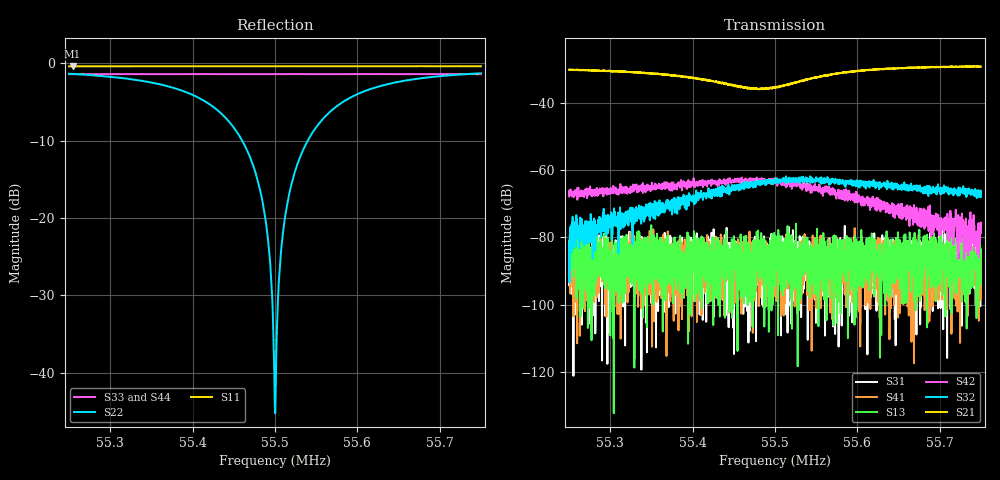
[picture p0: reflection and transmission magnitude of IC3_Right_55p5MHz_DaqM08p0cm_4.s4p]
#  HZ  S  DB  R  50.00
! Rohde & Schwarz Vector Network Analyzer
! Rohde-Schwarz,ZNB8-4Port,1311601044102961,2.82
! Created: UTC 2/13/2019, 2:09:33 PM
! freq[Hz]  db:S11  ang:S11  db:S12  ang:S12  db:S13  ang:S13  db:S14  ang:S14
!  db:S21  ang:S21  db:S22  ang:S22  db:S23  ang:S23  db:S24  ang:S24
!  db:S31  ang:S31  db:S32  ang:S32  db:S33  ang:S33  db:S34  ang:S34
!  db:S41  ang:S41  db:S42  ang:S42  db:S43  ang:S43  db:S44  ang:S44
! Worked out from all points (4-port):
!   2001 points, 55.25 MHz to 55.75 MHz, reference 50 ohm
!   strongest paths, dB at 55.25 MHz, 55.375 MHz, 55.5 MHz, 55.625 MHz, 55.75 MHz:
!     S21: -30.1, -31.8, -35.6, -30.1, -29.3
!     S32: -81.5, -73.2, -63.6, -64.2, -67.7
!     S42: -67.8, -64.7, -63.1, -70.0, -78.7
!     S13: -83.9, -82.0, -94.4, -85.4, -94.0
!     S41: -92.6, -88.0, -85.5, -80.1, -86.2
!     S31: -87.1, -83.9, -85.5, -82.6, -91.5
!   lowest |S11| = -0.4 dB at 55.2542 MHz (marker M1), VSWR 42.10, Z = 2.1 + j43.9 ohm
!   |S11| at or under -10 dB: nowhere
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5.525e7  -0.41 97.5  -30.19 72.5  -83.92 92.7  -79.30 83.0
         -30.15 73.9  -1.36 -131.9  -76.26 -6.2  -66.23 -149.5
         -87.12 8.0  -81.54 -11.2  -1.42 24.7  -88.27 -91.8
         -92.64 -45.4  -67.80 -150.5  -95.89 96.5  -1.43 31.2
5.525425e7  -0.41 97.4  -30.15 72.4  -84.85 -170.6  -87.18 0.7
            -30.28 72.6  -1.38 -132.5  -80.39 4.9  -66.92 -152.0
            -85.37 -47.9  -73.87 4.9  -1.41 24.7  -85.82 -116.7
            -87.93 -11.5  -67.64 -149.8  -93.27 -35.4  -1.43 31.2
5.545225e7  -0.39 93.8  -34.93 68.2  -87.57 70.1  -88.49 172.7
            -34.83 68.1  -8.65 173.6  -65.36 -32.3  -63.33 163.0
            -86.48 -47.8  -65.14 -32.8  -1.41 22.1  -86.67 30.1
            -87.65 -56.9  -63.17 168.1  -89.60 -57.2  -1.43 28.7
5.54865e7  -0.39 93.1  -35.82 83.7  -86.98 151.9  -87.90 75.9
           -35.80 84.6  -18.85 153.9  -63.68 -53.8  -63.56 144.4
           -87.09 -27.5  -63.18 -54.0  -1.41 21.7  -96.41 27.7
           -85.06 66.0  -63.31 151.0  -89.93 -116.7  -1.42 28.3
5.55e7  -0.39 92.8  -35.58 91.8  -94.42 -10.1  -80.44 29.3
        -35.59 90.9  -44.69 71.7  -62.74 -56.4  -63.46 144.3
        -85.51 66.7  -63.56 -56.0  -1.40 21.6  -83.62 75.1
        -85.49 -116.8  -63.11 133.4  -83.73 -90.9  -1.43 28.1
5.554875e7  -0.39 92.0  -32.49 101.5  -88.75 -92.1  -86.00 0.8
            -32.47 102.0  -8.46 -57.4  -63.45 -81.8  -65.22 116.4
            -91.20 67.0  -62.84 -82.0  -1.40 21.0  -96.30 143.6
            -92.28 -133.7  -65.46 115.3  -87.56 136.9  -1.42 27.5
5.575e7  -0.39 88.3  -29.24 79.1  -93.96 101.6  -80.12 7.7
         -29.30 79.2  -1.30 -112.8  -67.12 -125.5  -78.47 68.5
         -91.53 -7.0  -67.71 -126.3  -1.41 18.4  -96.07 -42.8
         -86.24 57.1  -78.68 104.0  -91.76 -32.1  -1.42 25.0
